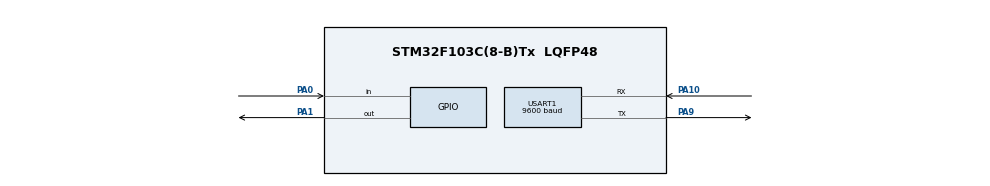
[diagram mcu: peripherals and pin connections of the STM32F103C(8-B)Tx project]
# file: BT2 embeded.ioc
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Mcu.Family=STM32F1
Mcu.Name=STM32F103C(8-B)Tx
Mcu.Package=LQFP48
NVIC.PriorityGroup=NVIC_PRIORITYGROUP_4
PA0-WKUP.GPIO_PuPd=GPIO_PULLUP
PA0-WKUP.Signal=GPIO_Input
PA1.Signal=GPIO_Output
PA10.Mode=Asynchronous
PA10.Signal=USART1_RX
PA13.Mode=Serial_Wire
PA13.Signal=SYS_JTMS-SWDIO
PA14.Mode=Serial_Wire
PA14.Signal=SYS_JTCK-SWCLK
PA9.Mode=Asynchronous
PA9.Signal=USART1_TX
ProjectManager.HeapSize=0x200
ProjectManager.StackSize=0x400
ProjectManager.TargetToolchain=STM32CubeIDE
RCC.APB1Freq_Value=8000000
RCC.APB2Freq_Value=8000000
USART1.BaudRate=9600
USART1.VirtualMode=VM_ASYNC
board=custom

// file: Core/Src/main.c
/* USER CODE BEGIN Header */
/**
  ******************************************************************************
  * @file           : main.c
  * @brief          : Main program body
  ******************************************************************************
  * @attention
  *
  * Copyright (c) 2024 STMicroelectronics.
  * All rights reserved.
  *
  * This software is licensed under terms that can be found in the LICENSE file
  * in the root directory of this software component.
  * If no LICENSE file comes with this software, it is provided AS-IS.
  *
  ******************************************************************************
  */
/* USER CODE END Header */
#include "main.h"

/* USER CODE BEGIN Includes */
#include "FreeRTOS.h"
#include "task.h"
#include "queue.h"
#include "string.h"
/* USER CODE END Includes */

/* USER CODE BEGIN PM */
TaskHandle_t   status_task_Handle;
xQueueHandle queue_led_command;

char data[2]="ON";
/* USER CODE END PM */

UART_HandleTypeDef huart1;

void SystemClock_Config(void);
static void MX_GPIO_Init(void);
static void MX_USART1_UART_Init(void);
/* USER CODE BEGIN PFP */
static void Usart_Task(void *pvParameters);
static void LED_Task( void *pvParameters );
static void Switch_Task( void *pvParameters );
/* USER CODE END PFP */

int main(void)
{

  /* MCU Configuration--------------------------------------------------------*/

  /* Reset of all peripherals, Initializes the Flash interface and the Systick. */
  HAL_Init();

  /* Configure the system clock */
  SystemClock_Config();

  /* Initialize all configured peripherals */
  MX_GPIO_Init();
  MX_USART1_UART_Init();
  /* USER CODE BEGIN 2 */
  queue_led_command = xQueueCreate(100, sizeof(led_command_t));
  xTaskCreate(Usart_Task, "Usart Task",configMINIMAL_STACK_SIZE, NULL, 1, NULL);
  xTaskCreate(LED_Task, "LD4_Task",configMINIMAL_STACK_SIZE, NULL, 1, NULL);
  xTaskCreate(Switch_Task, "SW task",configMINIMAL_STACK_SIZE, NULL, 1, NULL);
  /* USER CODE END 2 */

  /* Infinite loop */
  /* USER CODE BEGIN WHILE */
  vTaskStartScheduler();
  while (1)
  {

    /* USER CODE END WHILE */

  }
}

void SystemClock_Config(void)
{
  RCC_OscInitTypeDef RCC_OscInitStruct = {0};
  RCC_ClkInitTypeDef RCC_ClkInitStruct = {0};

  /** Initializes the RCC Oscillators according to the specified parameters
  * in the RCC_OscInitTypeDef structure.
  */
  RCC_OscInitStruct.OscillatorType = RCC_OSCILLATORTYPE_HSI;
  RCC_OscInitStruct.HSIState = RCC_HSI_ON;
  RCC_OscInitStruct.HSICalibrationValue = RCC_HSICALIBRATION_DEFAULT;
  RCC_OscInitStruct.PLL.PLLState = RCC_PLL_NONE;
  if (HAL_RCC_OscConfig(&RCC_OscInitStruct) != HAL_OK)
  {
    Error_Handler();
  }

  /** Initializes the CPU, AHB and APB buses clocks
  */
  RCC_ClkInitStruct.ClockType = RCC_CLOCKTYPE_HCLK|RCC_CLOCKTYPE_SYSCLK
                              |RCC_CLOCKTYPE_PCLK1|RCC_CLOCKTYPE_PCLK2;
  RCC_ClkInitStruct.SYSCLKSource = RCC_SYSCLKSOURCE_HSI;
  RCC_ClkInitStruct.AHBCLKDivider = RCC_SYSCLK_DIV1;
  RCC_ClkInitStruct.APB1CLKDivider = RCC_HCLK_DIV1;
  RCC_ClkInitStruct.APB2CLKDivider = RCC_HCLK_DIV1;

  if (HAL_RCC_ClockConfig(&RCC_ClkInitStruct, FLASH_LATENCY_0) != HAL_OK)
  {
    Error_Handler();
  }
}

static void MX_USART1_UART_Init(void)
{

  huart1.Instance = USART1;
  huart1.Init.BaudRate = 9600;
  huart1.Init.WordLength = UART_WORDLENGTH_8B;
  huart1.Init.StopBits = UART_STOPBITS_1;
  huart1.Init.Parity = UART_PARITY_NONE;
  huart1.Init.Mode = UART_MODE_TX_RX;
  huart1.Init.HwFlowCtl = UART_HWCONTROL_NONE;
  huart1.Init.OverSampling = UART_OVERSAMPLING_16;
  if (HAL_UART_Init(&huart1) != HAL_OK)
  {
    Error_Handler();
  }

}

static void MX_GPIO_Init(void)
{
  GPIO_InitTypeDef GPIO_InitStruct = {0};

  /* GPIO Ports Clock Enable */
  __HAL_RCC_GPIOA_CLK_ENABLE();

  /*Configure GPIO pin Output Level */
  HAL_GPIO_WritePin(GPIOA, GPIO_PIN_1, GPIO_PIN_RESET);

  /*Configure GPIO pin : PA0 */
  GPIO_InitStruct.Pin = GPIO_PIN_0;
  GPIO_InitStruct.Mode = GPIO_MODE_INPUT;
  GPIO_InitStruct.Pull = GPIO_PULLUP;
  HAL_GPIO_Init(GPIOA, &GPIO_InitStruct);

  /*Configure GPIO pin : PA1 */
  GPIO_InitStruct.Pin = GPIO_PIN_1;
  GPIO_InitStruct.Mode = GPIO_MODE_OUTPUT_PP;
  GPIO_InitStruct.Pull = GPIO_NOPULL;
  GPIO_InitStruct.Speed = GPIO_SPEED_FREQ_LOW;
  HAL_GPIO_Init(GPIOA, &GPIO_InitStruct);

}

/* USER CODE BEGIN 4 */
static void Usart_Task(void *pvParameters)
{
	uint8_t dat;
	BaseType_t	ret;
	led_command_t Led_state;
	while(1)
	{
		HAL_StatusTypeDef status = HAL_UART_Receive(&huart1, &data, 10, HAL_MAX_DELAY);
		if (status == HAL_OK)
		{
			if (strcmp(data,"ON\CR\LF") == 0)
			{
				Led_state = LED_ON;
				ret = xQueueSend(queue_led_command,&Led_state,0);
			}
			else if (strcmp(data,"OFF\CR\LF") == 0)
			{
				Led_state = LED_OFF;
				ret = xQueueSend(queue_led_command,&Led_state,0);
			}
			else if (strcmp(data,"TOGGLE\CR\LF") == 0)
			{
				Led_state = LED_TOGGLE;
				ret = xQueueSend(queue_led_command,&Led_state,0);
			}
		}
	}
	vTaskDelay(1000);
}

static void LED_Task( void *pvParameters )
{
	BaseType_t ret;
	led_command_t received_led_command;
	while(1)
	{
		ret = xQueueReceive(queue_led_command, &received_led_command, 5000);
		if (ret == pdTRUE )
		{
			if (received_led_command == LED_TOGGLE)  HAL_GPIO_TogglePin(LED_GPIO, LED_PIN);
			else if (received_led_command == LED_ON) HAL_GPIO_WritePin(LED_GPIO, LED_PIN, SET);
			else if (received_led_command == LED_OFF) HAL_GPIO_WritePin(LED_GPIO, LED_PIN, RESET);
		}
		vTaskDelay(100);
	}
}

static void Switch_Task( void *pvParameters )
{
	led_command_t Switch_Task_led_command;
	BaseType_t ret;
	while(1)
	{
		if (!(HAL_GPIO_ReadPin(GPIOA, BUTTON)))
		{

				HAL_GPIO_TogglePin(LED_GPIO, LED_PIN);
				Switch_Task_led_command = LED_TOGGLE;
				ret = xQueueSend(queue_led_command,&Switch_Task_led_command,0);

		}
		vTaskDelay(10);
	}
}
/* USER CODE END 4 */

void Error_Handler(void)
{
  __disable_irq();
  while (1)
  {
  }
}
